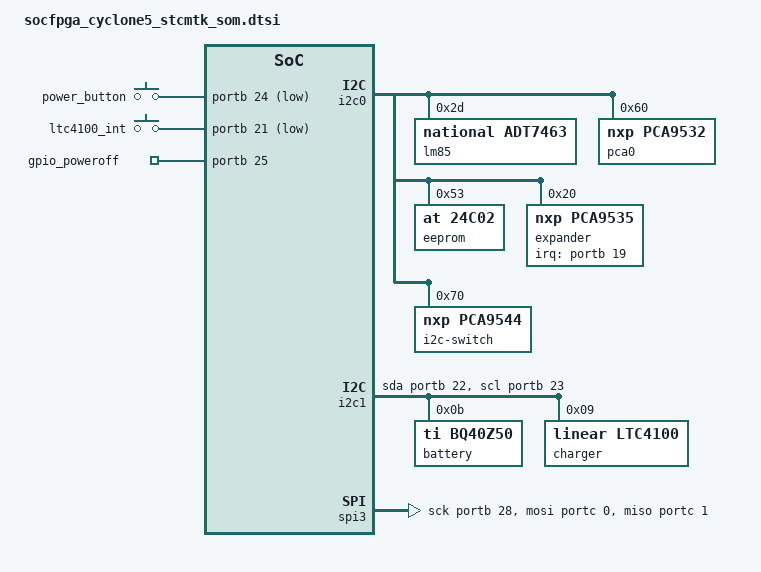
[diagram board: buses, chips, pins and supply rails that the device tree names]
#include <dt-bindings/leds/leds-pca9532.h>
#include "socfpga_cyclone5_stcmtk.dtsi"


/ {
	aliases {
		i2c2 = &sfp_mux_chan_0;
		i2c3 = &sfp_mux_chan_1;
		i2c4 = &sfp_mux_chan_2;
		i2c5 = &sfp_mux_chan_3;
	};

	soc {
		ethernet@ff702000 {
			phy-mode = "rgmii";
			txd0-skew-ps = <0>;
			txd1-skew-ps = <0>;
			txd2-skew-ps = <0>;
			txd3-skew-ps = <0>;
			rxd0-skew-ps = <420>;
			rxd1-skew-ps = <420>;
			rxd2-skew-ps = <420>;
			rxd3-skew-ps = <420>;
			txen-skew-ps = <0>;
			txc-skew-ps = <1860>;
			rxdv-skew-ps = <420>;
			rxc-skew-ps = <1680>;
			max-frame-size = <3800>;
		};

		i2c0: i2c@ffc04000 {
			lm85: lm85@2d {
				compatible = "national,adt7463";
				reg = <0x2d>;
				status = "okay";
			};

			pca0: pca9532@60 {
				compatible = "nxp,pca9532";
				gpio-controller;
				#gpio-cells = <2>;
				#address-cells = <1>;
				#size-cells = <0>;
				reg = <0x60>;
				status = "okay";

				green_led_0 {
					label = "green0";
					type = <PCA9532_TYPE_LED>;
				};
				green_led_1 {
					label = "green1";
					type = <PCA9532_TYPE_LED>;
				};
				green_led_2 {
					label = "green2";
					type = <PCA9532_TYPE_LED>;
				};
				green_led_3 {
					label = "green3";
					type = <PCA9532_TYPE_LED>;
				};
				green_led_4 {
					label = "green4";
					type = <PCA9532_TYPE_LED>;
				};
				green_led_5 {
					label = "green5";
					type = <PCA9532_TYPE_LED>;
				};
				green_led_6 {
					label = "green6";
					type = <PCA9532_TYPE_LED>;
				};
				green_led_7 {
					label = "green7";
					type = <PCA9532_TYPE_LED>;
				};
				red_led_0 {
					label = "red0";
					type = <PCA9532_TYPE_LED>;
				};
				red_led_1 {
					label = "red1";
					type = <PCA9532_TYPE_LED>;
				};
				red_led_2 {
					label = "red2";
					type = <PCA9532_TYPE_LED>;
				};
				red_led_3 {
					label = "red3";
					type = <PCA9532_TYPE_LED>;
				};
				red_led_4 {
					label = "red4";
					type = <PCA9532_TYPE_LED>;
				};
				red_led_5 {
					label = "red5";
					type = <PCA9532_TYPE_LED>;
				};
				red_led_6 {
					label = "red6";
					type = <PCA9532_TYPE_LED>;
				};
				red_led_7 {
					label = "red7";
					type = <PCA9532_TYPE_LED>;
				};
			};
		
			eeprom@53 {
				compatible = "at,24c02";
				reg = <0x53>;
				status = "okay";
			};
		
			expander: pca9535@20 {
				compatible = "nxp,pca9535";
				gpio-controller;
				#gpio-cells = <2>;
				reg = <0x20>;
				pinctrl-names = "default";
				interrupt-parent = <&portb>;
				interrupts = <19 IRQ_TYPE_LEVEL_LOW>;
				interrupt-controller;
				#interrupt-cells = <2>;
			};

			/* pinctrl-0 = <&soc_pca9535_pins>;*/
			/*interrupt-parent = <&porta>;*/
			/*interrupts = <&portc 8 2>;*/
			/*nr-gpios = <16>;*/

			i2c-switch@70 {
				compatible = "nxp,pca9544";
				#address-cells = <0x1>;
				#size-cells = <0x0>;
				reg = <0x70>;
				i2c-mux-idle-disconnect;

				/* The following two nodes describe I2C busses
				* located behind the MUX on channels 0 and 1
				* (indexed from 0).
				*/
				sfp_mux_chan_0: i2c@0 {
					#address-cells = <0x1>;
					#size-cells = <0x0>;
					reg = <0>;
				};

				sfp_mux_chan_1: i2c@1 {
					#address-cells = <0x1>;
					#size-cells = <0x0>;
					reg = <1>;
				};

				/* The following two nodes describe I2C mux
				* channels 2 and 3 (indexed from 0) that have
				* no devices connected to them.
				*
				* It would be great to disable them at all so
				* that they would not appear in sysfs but we
				* couldn't find an easy and obvious way to
				* achieve this.
				*/
				sfp_mux_chan_2: i2c@2 {
					#address-cells = <1>;
					#size-cells = <0>;
					reg = <2>;
				};
				sfp_mux_chan_3: i2c@3 {
					#address-cells = <1>;
					#size-cells = <0>;
					reg = <3>;
				};
			};
		};

		i2c1: i2c@ffc05000 {
			status = "okay";
			scl-gpios = <&portb 23 GPIO_ACTIVE_HIGH>;
			sda-gpios = <&portb 22 GPIO_ACTIVE_HIGH>;

			battery@0x0b {
				compatible = "ti,bq40z50";
				reg = <0x0b>;
			};

			charger@0x09 {
				compatible = "linear,ltc4100";
				reg = <0x09>;
			};

			/*	battery: sbs-battery@b {
					compatible = "sbs,sbs-battery";
					reg = <0xb>;
					sbs,poll-retry-count = <1>;
					sbs,i2c-retry-count = <2>;
				};*/

				/*
				* adjust the falling times to decrease the i2c frequency to 50Khz
				* because the LCD module does not work at the standard 100Khz
				*/
				/*	i2c-sda-falling-time-ns = <1700>;
					i2c-scl-falling-time-ns = <1300>;
					i2c-sda-hold-time-ns = <2500>;*/
		};

		etn-port0 {
			mac-address = [ 00 21 CE 07 00 01 ];
			sgmii-support = <1>;
			stcmtk,sfp-i2c-adapter = <&sfp_mux_chan_0>;
			stcmtk,sfp-mod-abs-gpio = <&expander 2 GPIO_ACTIVE_LOW>;
			stcmtk,sfp-tx-dis-gpio = <&expander 1 GPIO_ACTIVE_LOW>;
		};

		etn-port1 {
			mac-address = [ 00 21 CE 07 00 02 ];
			sgmii-support = <1>;
			stcmtk,sfp-i2c-adapter = <&sfp_mux_chan_1>;
			stcmtk,sfp-mod-abs-gpio = <&expander 10 GPIO_ACTIVE_LOW>;
			stcmtk,sfp-tx-dis-gpio = <&expander 9 GPIO_ACTIVE_LOW>;
		};
	};
	
	gpio_keys {
		compatible = "gpio-keys";

		power_button {
			label = "power_button";
			gpios = <&portb 24 GPIO_ACTIVE_LOW>;
			linux,code = <116>;
			gpio-key,wakeup;
		};

		ltc4100_int {
			label = "ltc4100_int";
			gpios = <&portb 21 GPIO_ACTIVE_LOW>;
			linux,code = <236>;
			gpio-key,wakeup;
		};
	};

	gpio_poweroff {
		compatible = "gpio-poweroff";
		gpios = <&portb 25 0>; /*gpio_54 for poweroff system*/
	};
	
	spi3 {
		compatible = "spi-gpio";
		#address-cells = <1>;
		#size-cells = <0>;
		gpio-sck = <&portb 28 0>;
		gpio-mosi = <&portc 0 0>;
		gpio-miso = <&portc 1 0>;
		num-chipselects = <1>;
		cs-gpios = <&portc 2 0>;
	};
};
